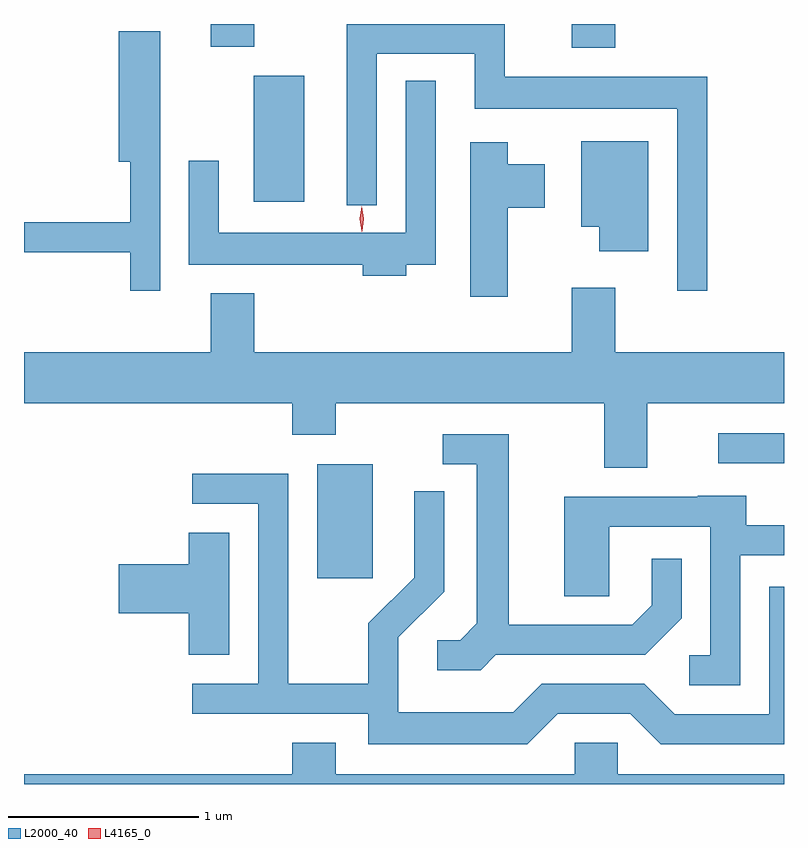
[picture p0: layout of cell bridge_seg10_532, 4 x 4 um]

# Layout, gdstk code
import gdstk
lib = gdstk.Library(unit=1e-6, precision=1e-09)
def R(c, l, rs):  # rectangles x0, y0, x1, y1
    for r in rs: c.add(gdstk.rectangle(r[:2], r[2:], *l))
def P(c, l, *ps):  # polygons
    for p in ps: c.add(gdstk.Polygon(p, *l))
L2000_40 = (2000, 40)
L4165_0 = (4165, 0)

bridge_seg10_532 = lib.new_cell('bridge_seg10_532')
R(bridge_seg10_532, L2000_40, [(768.011,2150.736,768.304,2151.334), (770.123,2151.341,770.468,2151.499), (767.676,2152.716,767.944,2153.379), (769.351,2153.526,769.579,2153.652), (767.451,2153.531,767.679,2153.652)])
P(bridge_seg10_532, L2000_40, [(770.064,2153.374),(768.999,2153.374),(768.999,2153.652),(768.166,2153.652),(768.166,2152.698),(768.324,2152.698),(768.324,2153.496),(768.841,2153.496),(768.841,2153.206),(769.906,2153.206),(769.906,2152.248),(770.064,2152.248)],
  [(767.184,2153.614),(766.966,2153.614),(766.966,2152.926),(767.026,2152.926),(767.026,2152.609),(766.468,2152.609),(766.468,2152.451),(767.026,2152.451),(767.026,2152.248),(767.184,2152.248)],
  [(768.479,2152.386),(768.634,2152.386),(768.634,2153.353),(768.476,2153.353),(768.476,2152.554),(767.494,2152.554),(767.494,2152.933),(767.336,2152.933),(767.336,2152.386),(768.251,2152.386),(768.251,2152.326),(768.479,2152.326)],
  [(769.754,2153.034),(769.401,2153.034),(769.401,2152.586),(769.496,2152.586),(769.496,2152.456),(769.754,2152.456)],
  [(769.014,2152.686),(769.209,2152.686),(769.209,2152.914),(769.014,2152.914),(769.014,2153.029),(768.816,2153.029),(768.816,2152.216),(769.014,2152.216)],
  [(769.749,2151.656),(770.468,2151.656),(770.468,2151.924),(769.579,2151.924),(769.579,2152.264),(769.351,2152.264),(769.351,2151.924),(767.679,2151.924),(767.679,2152.234),(767.451,2152.234),(767.451,2151.924),(766.468,2151.924),(766.468,2151.656),(767.881,2151.656),(767.881,2151.491),(768.109,2151.491),(768.109,2151.656),(769.521,2151.656),(769.521,2151.316),(769.749,2151.316)],
  [(768.952,2150.331),(769.737,2150.331),(769.929,2150.524),(769.929,2150.838),(769.771,2150.838),(769.771,2150.592),(769.669,2150.489),(769.019,2150.489),(769.019,2151.494),(768.673,2151.494),(768.673,2151.336),(768.851,2151.336),(768.851,2150.497),(768.764,2150.409),(768.643,2150.409),(768.643,2150.251),(768.872,2150.251)],
  [(769.277,2150.021),(769.659,2150.021),(769.819,2149.861),(770.468,2149.861),(770.468,2150.689),(770.391,2150.689),(770.391,2150.019),(769.892,2150.019),(769.732,2150.179),(769.194,2150.179),(769.044,2150.029),(768.439,2150.029),(768.439,2150.424),(768.679,2150.664),(768.679,2151.193),(768.521,2151.193),(768.521,2150.737),(768.281,2150.497),(768.281,2150.179),(767.859,2150.179),(767.859,2151.284),(767.353,2151.284),(767.353,2151.126),(767.701,2151.126),(767.701,2150.179),(767.353,2150.179),(767.353,2150.021),(768.281,2150.021),(768.281,2149.861),(769.117,2149.861)],
  [(770.239,2150.856),(770.468,2150.856),(770.468,2151.014),(770.269,2151.014),(770.269,2151.169),(770.015,2151.169),(770.015,2151.164),(769.311,2151.164),(769.311,2150.641),(769.549,2150.641),(769.549,2151.006),(770.081,2151.006),(770.081,2150.329),(769.968,2150.329),(769.968,2150.171),(770.239,2150.171)],
  [(767.549,2150.974),(767.336,2150.974),(767.336,2150.809),(766.966,2150.809),(766.966,2150.551),(767.336,2150.551),(767.336,2150.331),(767.549,2150.331)],
  [(770.468,2149.704),(769.594,2149.704),(769.594,2149.869),(769.366,2149.869),(769.366,2149.704),(768.109,2149.704),(768.109,2149.869),(767.881,2149.869),(767.881,2149.704),(766.468,2149.704),(766.468,2149.652),(770.468,2149.652)])
P(bridge_seg10_532, L4165_0, [(768.246,2152.559),(768.246,2152.56),(768.236,2152.626),(768.245,2152.692),(768.246,2152.693),(768.246,2152.692),(768.256,2152.626),(768.247,2152.56)])

lib.write_gds('bridge_seg10_532.gds')
